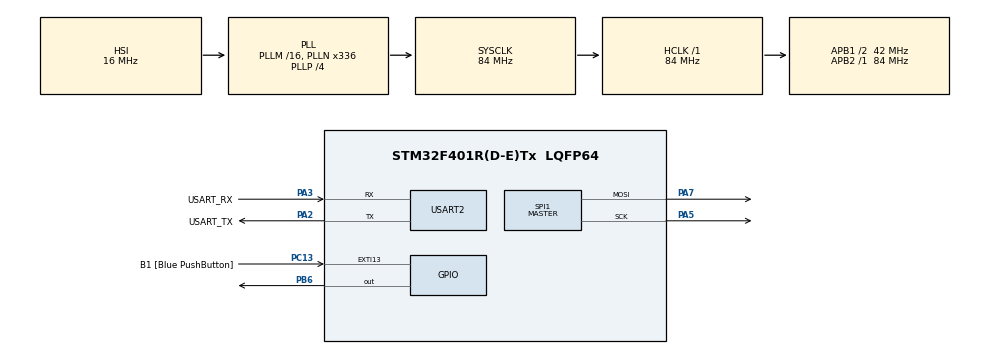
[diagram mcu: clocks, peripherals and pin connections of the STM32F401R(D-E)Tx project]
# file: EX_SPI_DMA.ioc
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Dma.Request0=SPI1_TX
Dma.SPI1_TX.0.Direction=DMA_MEMORY_TO_PERIPH
Dma.SPI1_TX.0.FIFOMode=DMA_FIFOMODE_DISABLE
Dma.SPI1_TX.0.Instance=DMA2_Stream3
Dma.SPI1_TX.0.MemDataAlignment=DMA_MDATAALIGN_BYTE
Dma.SPI1_TX.0.MemInc=DMA_MINC_ENABLE
Dma.SPI1_TX.0.Mode=DMA_NORMAL
Dma.SPI1_TX.0.PeriphDataAlignment=DMA_PDATAALIGN_BYTE
Dma.SPI1_TX.0.PeriphInc=DMA_PINC_DISABLE
Dma.SPI1_TX.0.Priority=DMA_PRIORITY_LOW
Mcu.Family=STM32F4
Mcu.Name=STM32F401R(D-E)Tx
Mcu.Package=LQFP64
NVIC.DMA2_Stream3_IRQn=true\:0\:0\:false\:false\:true\:false\:true
NVIC.PriorityGroup=NVIC_PRIORITYGROUP_0
NVIC.TIM2_IRQn=true\:0\:0\:false\:false\:true\:true\:true
PA13.GPIO_Label=TMS
PA13.Mode=Serial_Wire
PA13.Signal=SYS_JTMS-SWDIO
PA14.GPIO_Label=TCK
PA14.Mode=Serial_Wire
PA14.Signal=SYS_JTCK-SWCLK
PA2.GPIO_Label=USART_TX
PA2.GPIO_Mode=GPIO_MODE_AF_PP
PA2.GPIO_PuPd=GPIO_NOPULL
PA2.GPIO_Speed=GPIO_SPEED_FREQ_LOW
PA2.Mode=Asynchronous
PA2.Signal=USART2_TX
PA3.GPIO_Label=USART_RX
PA3.GPIO_Mode=GPIO_MODE_AF_PP
PA3.GPIO_PuPd=GPIO_NOPULL
PA3.GPIO_Speed=GPIO_SPEED_FREQ_LOW
PA3.Mode=Asynchronous
PA3.Signal=USART2_RX
PA5.Mode=TX_Only_Simplex_Unidirect_Master
PA5.Signal=SPI1_SCK
PA7.Mode=TX_Only_Simplex_Unidirect_Master
PA7.Signal=SPI1_MOSI
PB3.GPIO_Label=SWO
PB3.Signal=SYS_JTDO-SWO
PB6.Signal=GPIO_Output
PC13-ANTI_TAMP.GPIO_Label=B1 [Blue PushButton]
PC13-ANTI_TAMP.GPIO_ModeDefaultEXTI=GPIO_MODE_IT_FALLING
PC13-ANTI_TAMP.GPIO_PuPd=GPIO_NOPULL
PC13-ANTI_TAMP.Signal=GPXTI13
PC14-OSC32_IN.Mode=LSE-External-Oscillator
PC14-OSC32_IN.Signal=RCC_OSC32_IN
PC15-OSC32_OUT.Mode=LSE-External-Oscillator
PC15-OSC32_OUT.Signal=RCC_OSC32_OUT
PH0\ -\ OSC_IN.Mode=HSE-External-Clock-Source
PH0\ -\ OSC_IN.Signal=RCC_OSC_IN
PH1\ -\ OSC_OUT.Mode=HSE-External-Clock-Source
PH1\ -\ OSC_OUT.Signal=RCC_OSC_OUT
ProjectManager.HeapSize=0x200
ProjectManager.StackSize=0x400
ProjectManager.TargetToolchain=STM32CubeIDE
RCC.48MHZClocksFreq_Value=48000000
RCC.AHBFreq_Value=84000000
RCC.APB1CLKDivider=RCC_HCLK_DIV2
RCC.APB1Freq_Value=42000000
RCC.APB1TimFreq_Value=84000000
RCC.APB2Freq_Value=84000000
RCC.APB2TimFreq_Value=84000000
RCC.CortexFreq_Value=84000000
RCC.HCLKFreq_Value=84000000
RCC.HSE_VALUE=8000000
RCC.HSI_VALUE=16000000
RCC.PLLN=336
RCC.PLLP=RCC_PLLP_DIV4
RCC.PLLQ=7
RCC.SYSCLKFreq_VALUE=84000000
RCC.SYSCLKSource=RCC_SYSCLKSOURCE_PLLCLK
RCC.VCOOutputFreq_Value=336000000
SPI1.BaudRatePrescaler=SPI_BAUDRATEPRESCALER_4
SPI1.Direction=SPI_DIRECTION_2LINES
SPI1.Mode=SPI_MODE_MASTER
SPI1.VirtualType=VM_MASTER
TIM2.Period=40-1
TIM2.Prescaler=8400-1
USART2.VirtualMode=VM_ASYNC
VP_TIM2_VS_ClockSourceINT.Mode=Internal
board=NUCLEO-F401RE

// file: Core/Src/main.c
/* USER CODE BEGIN Header */
/**
  ******************************************************************************
  * @file           : main.c
  * @brief          : Main program body
  ******************************************************************************
  * @attention
  *
  * Copyright (c) 2022 STMicroelectronics.
  * All rights reserved.
  *
  * This software is licensed under terms that can be found in the LICENSE file
  * in the root directory of this software component.
  * If no LICENSE file comes with this software, it is provided AS-IS.
  *
  ******************************************************************************
  */
/* USER CODE END Header */
#include "main.h"

SPI_HandleTypeDef hspi1;
DMA_HandleTypeDef hdma_spi1_tx;

TIM_HandleTypeDef htim2;

UART_HandleTypeDef huart2;

void SystemClock_Config(void);
static void MX_GPIO_Init(void);
static void MX_USART2_UART_Init(void);
static void MX_DMA_Init(void);
static void MX_SPI1_Init(void);
static void MX_TIM2_Init(void);

/* USER CODE BEGIN 0 */
uint8_t matrix[5][2]= {{63,16},{68,8}, {68,4}, {68,2}, {63,1}};
int i = 0;
int s_counter = 0;

void HAL_TIM_PeriodElapsedCallback(TIM_HandleTypeDef *htim)
{

	//update the matrix with what was sent in the previous callback
	HAL_GPIO_WritePin(GPIOB, GPIO_PIN_6, GPIO_PIN_SET);
	i++;
	s_counter++;
	HAL_GPIO_WritePin(GPIOB, GPIO_PIN_6, GPIO_PIN_RESET);
	if(i==5) i=0;
	//SPI transfer function is non-blocking so we need to be sure that the transmission is completed before triggering the clock pin
	HAL_SPI_Transmit_DMA(&hspi1, matrix[i], 2);
}
/* USER CODE END 0 */

int main(void)
{

  /* MCU Configuration--------------------------------------------------------*/

  /* Reset of all peripherals, Initializes the Flash interface and the Systick. */
  HAL_Init();

  /* Configure the system clock */
  SystemClock_Config();

  /* Initialize all configured peripherals */
  MX_GPIO_Init();
  MX_USART2_UART_Init();
  MX_DMA_Init();
  MX_SPI1_Init();
  MX_TIM2_Init();
  /* USER CODE BEGIN 2 */
  int flag = 0;
  uint8_t matrix_O[5][2]= {{62,16},{65,8}, {65,4}, {65,2}, {62,1}};
  uint8_t matrix_A[5][2]= {{63,16},{68,8}, {68,4}, {68,2}, {63,1}};
  HAL_TIM_Base_Start_IT(&htim2);
  /* USER CODE END 2 */

  /* Infinite loop */
  /* USER CODE BEGIN WHILE */
  while (1)
  {
    if(!flag && s_counter==250)
    {
    	s_counter=0;

    	flag=1;
    	memcpy(matrix,matrix_O,sizeof(matrix_O));
    }
    else if (flag && s_counter==250)
    {
    	s_counter=0;

    	flag = 0;
    	memcpy(matrix,matrix_A,sizeof(matrix_A));
    }
    /* USER CODE END WHILE */

  }
}

void SystemClock_Config(void)
{
  RCC_OscInitTypeDef RCC_OscInitStruct = {0};
  RCC_ClkInitTypeDef RCC_ClkInitStruct = {0};

  /** Configure the main internal regulator output voltage
  */
  __HAL_RCC_PWR_CLK_ENABLE();
  __HAL_PWR_VOLTAGESCALING_CONFIG(PWR_REGULATOR_VOLTAGE_SCALE2);
  /** Initializes the RCC Oscillators according to the specified parameters
  * in the RCC_OscInitTypeDef structure.
  */
  RCC_OscInitStruct.OscillatorType = RCC_OSCILLATORTYPE_HSI;
  RCC_OscInitStruct.HSIState = RCC_HSI_ON;
  RCC_OscInitStruct.HSICalibrationValue = RCC_HSICALIBRATION_DEFAULT;
  RCC_OscInitStruct.PLL.PLLState = RCC_PLL_ON;
  RCC_OscInitStruct.PLL.PLLSource = RCC_PLLSOURCE_HSI;
  RCC_OscInitStruct.PLL.PLLM = 16;
  RCC_OscInitStruct.PLL.PLLN = 336;
  RCC_OscInitStruct.PLL.PLLP = RCC_PLLP_DIV4;
  RCC_OscInitStruct.PLL.PLLQ = 7;
  if (HAL_RCC_OscConfig(&RCC_OscInitStruct) != HAL_OK)
  {
    Error_Handler();
  }
  /** Initializes the CPU, AHB and APB buses clocks
  */
  RCC_ClkInitStruct.ClockType = RCC_CLOCKTYPE_HCLK|RCC_CLOCKTYPE_SYSCLK
                              |RCC_CLOCKTYPE_PCLK1|RCC_CLOCKTYPE_PCLK2;
  RCC_ClkInitStruct.SYSCLKSource = RCC_SYSCLKSOURCE_PLLCLK;
  RCC_ClkInitStruct.AHBCLKDivider = RCC_SYSCLK_DIV1;
  RCC_ClkInitStruct.APB1CLKDivider = RCC_HCLK_DIV2;
  RCC_ClkInitStruct.APB2CLKDivider = RCC_HCLK_DIV1;

  if (HAL_RCC_ClockConfig(&RCC_ClkInitStruct, FLASH_LATENCY_2) != HAL_OK)
  {
    Error_Handler();
  }
}

static void MX_SPI1_Init(void)
{

  /* SPI1 parameter configuration*/
  hspi1.Instance = SPI1;
  hspi1.Init.Mode = SPI_MODE_MASTER;
  hspi1.Init.Direction = SPI_DIRECTION_2LINES;
  hspi1.Init.DataSize = SPI_DATASIZE_8BIT;
  hspi1.Init.CLKPolarity = SPI_POLARITY_LOW;
  hspi1.Init.CLKPhase = SPI_PHASE_1EDGE;
  hspi1.Init.NSS = SPI_NSS_SOFT;
  hspi1.Init.BaudRatePrescaler = SPI_BAUDRATEPRESCALER_4;
  hspi1.Init.FirstBit = SPI_FIRSTBIT_MSB;
  hspi1.Init.TIMode = SPI_TIMODE_DISABLE;
  hspi1.Init.CRCCalculation = SPI_CRCCALCULATION_DISABLE;
  hspi1.Init.CRCPolynomial = 10;
  if (HAL_SPI_Init(&hspi1) != HAL_OK)
  {
    Error_Handler();
  }

}

static void MX_TIM2_Init(void)
{

  TIM_ClockConfigTypeDef sClockSourceConfig = {0};
  TIM_MasterConfigTypeDef sMasterConfig = {0};

  htim2.Instance = TIM2;
  htim2.Init.Prescaler = 8400-1;
  htim2.Init.CounterMode = TIM_COUNTERMODE_UP;
  htim2.Init.Period = 40-1;
  htim2.Init.ClockDivision = TIM_CLOCKDIVISION_DIV1;
  htim2.Init.AutoReloadPreload = TIM_AUTORELOAD_PRELOAD_DISABLE;
  if (HAL_TIM_Base_Init(&htim2) != HAL_OK)
  {
    Error_Handler();
  }
  sClockSourceConfig.ClockSource = TIM_CLOCKSOURCE_INTERNAL;
  if (HAL_TIM_ConfigClockSource(&htim2, &sClockSourceConfig) != HAL_OK)
  {
    Error_Handler();
  }
  sMasterConfig.MasterOutputTrigger = TIM_TRGO_RESET;
  sMasterConfig.MasterSlaveMode = TIM_MASTERSLAVEMODE_DISABLE;
  if (HAL_TIMEx_MasterConfigSynchronization(&htim2, &sMasterConfig) != HAL_OK)
  {
    Error_Handler();
  }

}

static void MX_USART2_UART_Init(void)
{

  huart2.Instance = USART2;
  huart2.Init.BaudRate = 115200;
  huart2.Init.WordLength = UART_WORDLENGTH_8B;
  huart2.Init.StopBits = UART_STOPBITS_1;
  huart2.Init.Parity = UART_PARITY_NONE;
  huart2.Init.Mode = UART_MODE_TX_RX;
  huart2.Init.HwFlowCtl = UART_HWCONTROL_NONE;
  huart2.Init.OverSampling = UART_OVERSAMPLING_16;
  if (HAL_UART_Init(&huart2) != HAL_OK)
  {
    Error_Handler();
  }

}

static void MX_DMA_Init(void)
{

  /* DMA controller clock enable */
  __HAL_RCC_DMA2_CLK_ENABLE();

  /* DMA interrupt init */
  /* DMA2_Stream3_IRQn interrupt configuration */
  HAL_NVIC_SetPriority(DMA2_Stream3_IRQn, 0, 0);
  HAL_NVIC_EnableIRQ(DMA2_Stream3_IRQn);

}

static void MX_GPIO_Init(void)
{
  GPIO_InitTypeDef GPIO_InitStruct = {0};

  /* GPIO Ports Clock Enable */
  __HAL_RCC_GPIOC_CLK_ENABLE();
  __HAL_RCC_GPIOH_CLK_ENABLE();
  __HAL_RCC_GPIOA_CLK_ENABLE();
  __HAL_RCC_GPIOB_CLK_ENABLE();

  /*Configure GPIO pin Output Level */
  HAL_GPIO_WritePin(GPIOB, GPIO_PIN_6, GPIO_PIN_RESET);

  /*Configure GPIO pin : B1_Pin */
  GPIO_InitStruct.Pin = B1_Pin;
  GPIO_InitStruct.Mode = GPIO_MODE_IT_FALLING;
  GPIO_InitStruct.Pull = GPIO_NOPULL;
  HAL_GPIO_Init(B1_GPIO_Port, &GPIO_InitStruct);

  /*Configure GPIO pin : PB6 */
  GPIO_InitStruct.Pin = GPIO_PIN_6;
  GPIO_InitStruct.Mode = GPIO_MODE_OUTPUT_PP;
  GPIO_InitStruct.Pull = GPIO_NOPULL;
  GPIO_InitStruct.Speed = GPIO_SPEED_FREQ_LOW;
  HAL_GPIO_Init(GPIOB, &GPIO_InitStruct);

}

void Error_Handler(void)
{
  __disable_irq();
  while (1)
  {
  }
}
